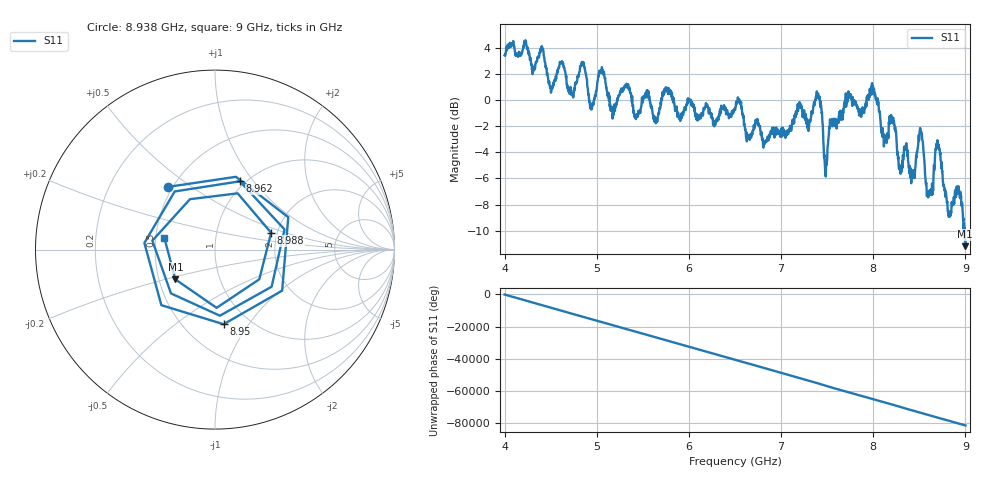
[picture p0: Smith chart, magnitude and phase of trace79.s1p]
! Created with skrf 1.8.0 (http://scikit-rf.org).
# Hz S RI R 50.0
!freq ReS11 ImS11
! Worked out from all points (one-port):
!   1601 points, 4 GHz to 9 GHz, reference 50 ohm
!   lowest |S11| = -11.2 dB at 8.997 GHz (marker M1), VSWR 1.76, Z = 30.4 - j10.9 ohm
!   |S11| at or under -10 dB: 8.980792 GHz to 8.981326 GHz (533.8 kHz wide, 0.00594 % of centre); 8.98901 GHz to 8.993114 GHz (4.104 MHz wide, 0.0456 % of centre); 8.994486 GHz to end of sweep
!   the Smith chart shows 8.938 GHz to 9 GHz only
!   S11 on the Smith chart (normalised r, x): 8.938 GHz: 0.47, +0.41; 8.95 GHz: 0.76, -0.77; 8.962 GHz: 0.94, +0.86; 8.988 GHz: 1.86, +0.39; 9 GHz: 0.56, +0.08
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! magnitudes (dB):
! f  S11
! 4 GHz  3.4
! 4.625 GHz  3.0
! 4.728 GHz  0.5
! 4.85 GHz  2.8
! 4.941 GHz  -0.5
! 5.047 GHz  2.2
! 5.25 GHz  0.4
! 5.875 GHz  -1.3
! 6.5 GHz  -0.8
! 6.825 GHz  -3.3
! 7.125 GHz  -1.5
! 7.403 GHz  0.5
! 7.488 GHz  -5.2
! 7.75 GHz  0.3
! 8 GHz  0.6
! 8.112 GHz  -2.6
! 8.375 GHz  -3.9
! 8.431 GHz  -6.0
! 8.516 GHz  -2.4
! 8.609 GHz  -6.9
! 8.703 GHz  -3.5
! 8.822 GHz  -9.0
! 8.938 GHz  -7.2
! 8.95 GHz  -7.6
! 8.962 GHz  -7.9
! 8.988 GHz  -9.7
! 8.997 GHz  -11.2
! 9 GHz  -10.8
